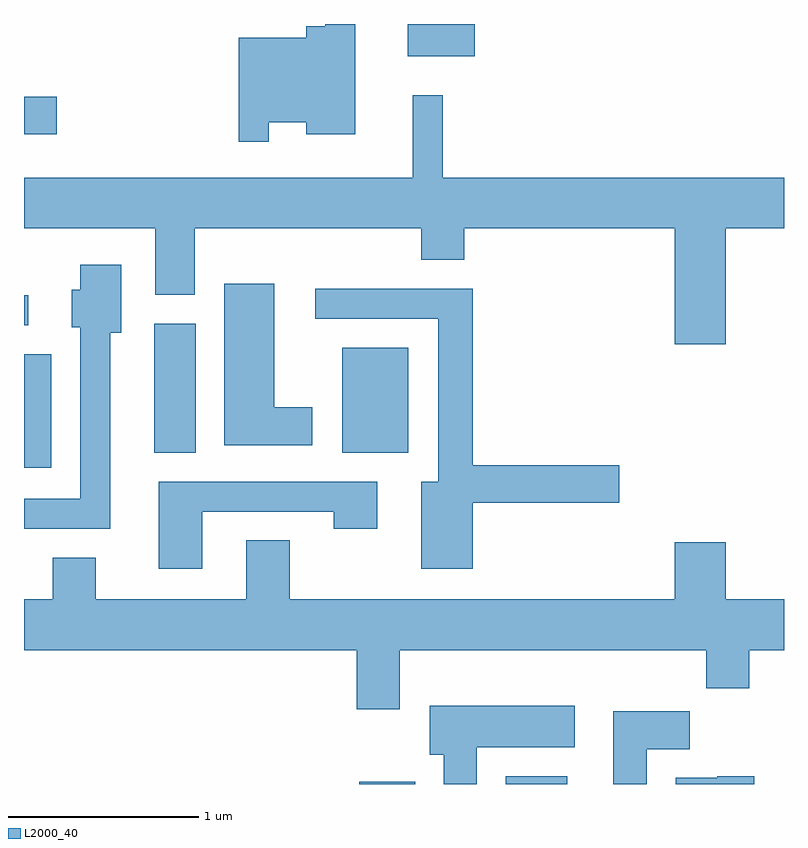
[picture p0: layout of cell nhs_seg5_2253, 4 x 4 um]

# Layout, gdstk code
import gdstk
lib = gdstk.Library(unit=1e-6, precision=1e-09)
def R(c, l, rs):  # rectangles x0, y0, x1, y1
    for r in rs: c.add(gdstk.rectangle(r[:2], r[2:], *l))
def P(c, l, *ps):  # polygons
    for p in ps: c.add(gdstk.Polygon(p, *l))
L2000_40 = (2000, 40)

nhs_seg5_2253 = lib.new_cell('nhs_seg5_2253')
R(nhs_seg5_2253, L2000_40, [(253.376,1476.072,253.669,1476.084), (254.146,1476.072,254.469,1476.114), (251.611,1477.736,251.754,1478.334), (252.296,1477.816,252.514,1478.494), (253.286,1477.816,253.634,1478.369), (251.611,1478.486,251.633,1478.644), (251.611,1479.491,251.784,1479.689), (253.631,1479.901,253.984,1480.072)])
P(nhs_seg5_2253, L2000_40, [(252.899,1479.556),(253.096,1479.556),(253.096,1479.491),(253.354,1479.491),(253.354,1480.072),(253.196,1480.072),(253.196,1480.059),(253.096,1480.059),(253.096,1479.999),(252.741,1479.999),(252.741,1479.453),(252.899,1479.453)],
  [(255.304,1478.996),(255.611,1478.996),(255.611,1479.264),(253.814,1479.264),(253.814,1479.698),(253.656,1479.698),(253.656,1479.264),(251.611,1479.264),(251.611,1478.996),(252.301,1478.996),(252.301,1478.646),(252.509,1478.646),(252.509,1478.996),(253.701,1478.996),(253.701,1478.831),(253.929,1478.831),(253.929,1478.996),(255.036,1478.996),(255.036,1478.386),(255.304,1478.386)],
  [(252.064,1478.446),(252.124,1478.446),(252.124,1478.804),(251.906,1478.804),(251.906,1478.674),(251.861,1478.674),(251.861,1478.476),(251.906,1478.476),(251.906,1477.574),(251.611,1477.574),(251.611,1477.416),(252.064,1477.416)],
  [(253.129,1478.054),(252.929,1478.054),(252.929,1478.704),(252.666,1478.704),(252.666,1477.856),(253.129,1477.856)],
  [(253.974,1477.551),(254.744,1477.551),(254.744,1477.749),(253.974,1477.749),(253.974,1478.679),(253.143,1478.679),(253.143,1478.521),(253.791,1478.521),(253.791,1477.664),(253.701,1477.664),(253.701,1477.206),(253.974,1477.206)],
  [(252.549,1477.506),(253.241,1477.506),(253.241,1477.416),(253.469,1477.416),(253.469,1477.664),(252.321,1477.664),(252.321,1477.206),(252.549,1477.206)],
  [(255.304,1477.344),(255.036,1477.344),(255.036,1477.044),(253.009,1477.044),(253.009,1477.354),(252.781,1477.354),(252.781,1477.044),(251.989,1477.044),(251.989,1477.264),(251.761,1477.264),(251.761,1477.044),(251.611,1477.044),(251.611,1476.776),(253.361,1476.776),(253.361,1476.466),(253.589,1476.466),(253.589,1476.776),(255.201,1476.776),(255.201,1476.576),(255.429,1476.576),(255.429,1476.776),(255.611,1476.776),(255.611,1477.044),(255.304,1477.044)],
  [(253.994,1476.266),(254.509,1476.266),(254.509,1476.484),(253.746,1476.484),(253.746,1476.226),(253.821,1476.226),(253.821,1476.072),(253.994,1476.072)],
  [(254.889,1476.256),(255.114,1476.256),(255.114,1476.454),(254.711,1476.454),(254.711,1476.072),(254.889,1476.072)],
  [(255.454,1476.114),(255.26,1476.114),(255.26,1476.104),(255.041,1476.104),(255.041,1476.072),(255.454,1476.072)])

lib.write_gds('nhs_seg5_2253.gds')
